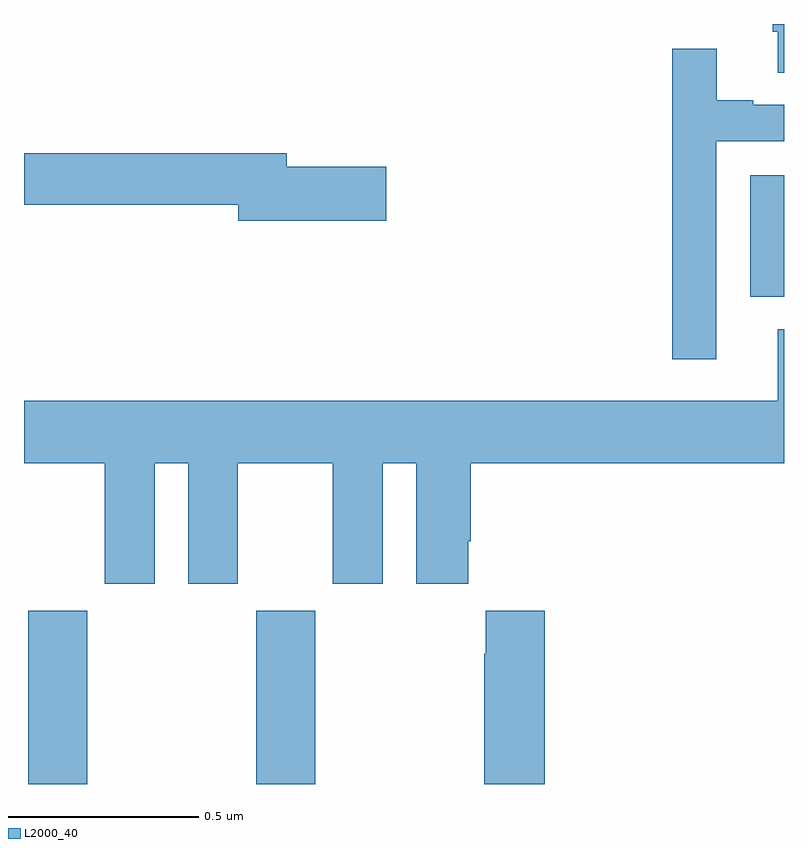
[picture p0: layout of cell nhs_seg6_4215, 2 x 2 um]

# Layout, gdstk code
import gdstk
lib = gdstk.Library(unit=1e-6, precision=1e-09)
def R(c, l, rs):  # rectangles x0, y0, x1, y1
    for r in rs: c.add(gdstk.rectangle(r[:2], r[2:], *l))
def P(c, l, *ps):  # polygons
    for p in ps: c.add(gdstk.Polygon(p, *l))
L2000_40 = (2000, 40)

nhs_seg6_4215 = lib.new_cell('nhs_seg6_4215')
R(nhs_seg6_4215, L2000_40, [(167.011,938.5,167.166,938.956), (167.611,938.5,167.766,938.956), (168.911,939.782,169,940.102)])
P(nhs_seg6_4215, L2000_40, [(169,940.5),(168.971,940.5),(168.971,940.48),(168.983,940.48),(168.983,940.372),(169,940.372)],
  [(168.822,940.191),(169,940.191),(169,940.287),(168.919,940.287),(168.919,940.3),(168.823,940.3),(168.823,940.435),(168.706,940.435),(168.706,939.618),(168.822,939.618)],
  [(167.953,940.124),(167.692,940.124),(167.692,940.16),(167,940.16),(167,940.024),(167.564,940.024),(167.564,939.982),(167.953,939.982)],
  [(167.344,939.344),(167.432,939.344),(167.432,939.027),(167.563,939.027),(167.563,939.344),(167.813,939.344),(167.813,939.027),(167.944,939.027),(167.944,939.344),(168.032,939.344),(168.032,939.027),(168.169,939.027),(168.169,939.139),(168.176,939.139),(168.176,939.344),(169,939.344),(169,939.697),(168.983,939.697),(168.983,939.508),(167,939.508),(167,939.344),(167.213,939.344),(167.213,939.027),(167.344,939.027)],
  [(168.371,938.956),(168.215,938.956),(168.215,938.843),(168.211,938.843),(168.211,938.5),(168.371,938.5)])

lib.write_gds('nhs_seg6_4215.gds')
